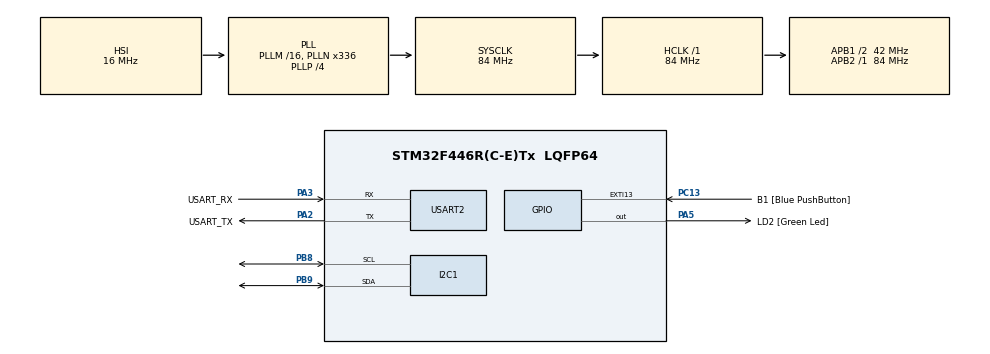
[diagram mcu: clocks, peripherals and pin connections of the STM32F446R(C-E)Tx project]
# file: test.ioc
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I2C1.I2C_Mode=I2C_Fast
Mcu.Family=STM32F4
Mcu.Name=STM32F446R(C-E)Tx
Mcu.Package=LQFP64
NVIC.PriorityGroup=NVIC_PRIORITYGROUP_0
PA13.GPIO_Label=TMS
PA13.Mode=Serial_Wire
PA13.Signal=SYS_JTMS-SWDIO
PA14.GPIO_Label=TCK
PA14.Mode=Serial_Wire
PA14.Signal=SYS_JTCK-SWCLK
PA2.GPIO_Label=USART_TX
PA2.Mode=Asynchronous
PA2.Signal=USART2_TX
PA3.GPIO_Label=USART_RX
PA3.Mode=Asynchronous
PA3.Signal=USART2_RX
PA5.GPIO_Label=LD2 [Green Led]
PA5.Signal=GPIO_Output
PB3.GPIO_Label=SWO
PB3.Signal=SYS_JTDO-SWO
PB8.Mode=I2C
PB8.Signal=I2C1_SCL
PB9.Mode=I2C
PB9.Signal=I2C1_SDA
PC13.GPIO_Label=B1 [Blue PushButton]
PC13.GPIO_ModeDefaultEXTI=GPIO_MODE_IT_FALLING
PC13.Signal=GPXTI13
PC14-OSC32_IN.Mode=LSE-External-Oscillator
PC14-OSC32_IN.Signal=RCC_OSC32_IN
PC15-OSC32_OUT.Mode=LSE-External-Oscillator
PC15-OSC32_OUT.Signal=RCC_OSC32_OUT
PH0-OSC_IN.Mode=HSE-External-Oscillator
PH0-OSC_IN.Signal=RCC_OSC_IN
PH1-OSC_OUT.Mode=HSE-External-Oscillator
PH1-OSC_OUT.Signal=RCC_OSC_OUT
ProjectManager.HeapSize=0x200
ProjectManager.StackSize=0x400
ProjectManager.TargetToolchain=STM32CubeIDE
RCC.48MHZClocksFreq_Value=84000000
RCC.AHBFreq_Value=84000000
RCC.APB1CLKDivider=RCC_HCLK_DIV2
RCC.APB1Freq_Value=42000000
RCC.APB1TimFreq_Value=84000000
RCC.APB2Freq_Value=84000000
RCC.APB2TimFreq_Value=84000000
RCC.CortexFreq_Value=84000000
RCC.FLatency-AdvancedSettings=FLASH_LATENCY_2
RCC.HCLKFreq_Value=84000000
RCC.HSE_VALUE=8000000
RCC.HSI_VALUE=16000000
RCC.PLLN=336
RCC.PLLP=RCC_PLLP_DIV4
RCC.SYSCLKFreq_VALUE=84000000
RCC.SYSCLKSource=RCC_SYSCLKSOURCE_PLLCLK
RCC.USBFreq_Value=168000000
RCC.VCOOutputFreq_Value=336000000
USART2.VirtualMode=VM_ASYNC
board=NUCLEO-F446RE

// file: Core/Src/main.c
/* USER CODE BEGIN Header */
/*VILLETTE Lou-Anne & CALDEIRA Quentin*/
/* USER CODE END Header */

#include "main.h"
#include "i2c.h"
#include "usart.h"
#include "gpio.h"

/* USER CODE BEGIN PD */
#define ACC_ADR 		0x32 //Adresse i2c de l'acceloremetre
#define MAG_ADR 		0x3C //Adresse i2c du magnetometre
#define WHO_AM_I_A 		0x0F
#define WHO_AM_I_M		0x4F

#define CTRL_REG1_A 	0x20
#define CTRL_REG5_A 	0x24
#define OUT_X_L_A		0x28

#define CFG_REG_A_M 	0x60
#define	OUTX_L_REG_M	0x68
/* USER CODE END PD */

/* USER CODE BEGIN PV */
 char acc_data_w[12];
 char acc_data_r[12];
 char mag_data_w[12];
 char mag_data_r[12];
/* USER CODE END PV */

void SystemClock_Config(void);
int who_am_i_sensors();

/* USER CODE BEGIN 0 */
/*------------Fonction permettant de relier le printf et l'uart---------------*/
int __io_putchar(int ch) {
	uint8_t c = ch & 0x00FF;
	HAL_UART_Transmit(&huart2, &c, 1, 10);
	return ch;
}
/*----------------------------------------------------------------------------*/

/*---Fonction permettant d'attester la présence du magneto et de l'accelero---*/
int who_am_i_sensors(){
	uint8_t buf[1];                                                                                     //Buffer de 1 octet car on ne lit que une case mémoire
	HAL_StatusTypeDef ret;                                                                              //Variable HAL permettant de voir l'état de la transmission I2C
	buf[0] = WHO_AM_I_A;                                                                                //On affecte l'adresse de la case mémoire stockant WHOAMI pour l'accelero
	ret = HAL_I2C_Master_Transmit(&hi2c1, ACC_ADR, buf, 1, HAL_MAX_DELAY);                              //On effectue la transmission sur l'accelero
	if ( ret != HAL_OK ) {                                                                              //Si la transmission s'est mal passé, on affiche une erreur
		printf("Error Tx\r\n");
	}
	else {
	    ret = HAL_I2C_Master_Receive(&hi2c1, ACC_ADR, buf, 1, HAL_MAX_DELAY);                           //Sinon, on recupere la valeur dans la case memoire
	    if ( ret != HAL_OK ) {                                                                          //Si la réception s'est mal passée, on affiche une erreur
	      printf("Error Rx\r\n");
	    }
	    else {
	    	if ( buf[0]==0x33 ) {                                                                         //On teste si la valeur présente dans la case memoire est identique à celle indiquée dans la doc
	        printf("Detection de accelerometre \n\r");
	    	}
	    }
  }
  buf[0] = WHO_AM_I_M;                                                                                //On affecte l'adresse de la case mémoire du WHOAMI pour le magneto
  ret = HAL_I2C_Master_Transmit(&hi2c1, MAG_ADR, buf, 1, HAL_MAX_DELAY);                              //On effectue la transmission sur le magneto
  if ( ret != HAL_OK ) {                                                                              //Si la transmission s'est mal passé, on affiche une erreur
	  printf("Error Tx\r\n");
  }
  else {
  	ret = HAL_I2C_Master_Receive(&hi2c1, MAG_ADR, buf, 1, HAL_MAX_DELAY);                             //Sinon, on recupere la valeur dans la case memoire
  	if ( ret != HAL_OK ) {                                                                            //Si la réception s'est mal passée, on affiche une erreur
  	  printf("Error Rx\r\n");
  	}
    else {
    	if ( buf[0]==0x40 ) {                                                                           //On teste si la valeur présente dans la case memoire est identique à celle indiquée dans la doc
    		printf("Detection de magneto \n\r");
    	}
    }
  }
}

/*---------------------------------------------------------------------------------*/
/* USER CODE END 0 */

int main(void)
{

  /* MCU Configuration--------------------------------------------------------*/

  /* Reset of all peripherals, Initializes the Flash interface and the Systick. */
  HAL_Init();

  /* Configure the system clock */
  SystemClock_Config();

  /* Initialize all configured peripherals */
  MX_GPIO_Init();
  MX_USART2_UART_Init();
  MX_I2C1_Init();

  /* Infinite loop */
  /* USER CODE BEGIN WHILE */
  while (1){
	  who_am_i_sensors();
  }
}
    /* USER CODE END WHILE */

void SystemClock_Config(void)
{
  RCC_OscInitTypeDef RCC_OscInitStruct = {0};
  RCC_ClkInitTypeDef RCC_ClkInitStruct = {0};

  /** Configure the main internal regulator output voltage
  */
  __HAL_RCC_PWR_CLK_ENABLE();
  __HAL_PWR_VOLTAGESCALING_CONFIG(PWR_REGULATOR_VOLTAGE_SCALE3);

  /** Initializes the RCC Oscillators according to the specified parameters
  * in the RCC_OscInitTypeDef structure.
  */
  RCC_OscInitStruct.OscillatorType = RCC_OSCILLATORTYPE_HSI;
  RCC_OscInitStruct.HSIState = RCC_HSI_ON;
  RCC_OscInitStruct.HSICalibrationValue = RCC_HSICALIBRATION_DEFAULT;
  RCC_OscInitStruct.PLL.PLLState = RCC_PLL_ON;
  RCC_OscInitStruct.PLL.PLLSource = RCC_PLLSOURCE_HSI;
  RCC_OscInitStruct.PLL.PLLM = 16;
  RCC_OscInitStruct.PLL.PLLN = 336;
  RCC_OscInitStruct.PLL.PLLP = RCC_PLLP_DIV4;
  RCC_OscInitStruct.PLL.PLLQ = 2;
  RCC_OscInitStruct.PLL.PLLR = 2;
  if (HAL_RCC_OscConfig(&RCC_OscInitStruct) != HAL_OK)
  {
    Error_Handler();
  }

  /** Initializes the CPU, AHB and APB buses clocks
  */
  RCC_ClkInitStruct.ClockType = RCC_CLOCKTYPE_HCLK|RCC_CLOCKTYPE_SYSCLK
                              |RCC_CLOCKTYPE_PCLK1|RCC_CLOCKTYPE_PCLK2;
  RCC_ClkInitStruct.SYSCLKSource = RCC_SYSCLKSOURCE_PLLCLK;
  RCC_ClkInitStruct.AHBCLKDivider = RCC_SYSCLK_DIV1;
  RCC_ClkInitStruct.APB1CLKDivider = RCC_HCLK_DIV2;
  RCC_ClkInitStruct.APB2CLKDivider = RCC_HCLK_DIV1;

  if (HAL_RCC_ClockConfig(&RCC_ClkInitStruct, FLASH_LATENCY_2) != HAL_OK)
  {
    Error_Handler();
  }
}

void Error_Handler(void)
{
  /* USER CODE BEGIN Error_Handler_Debug */
  /* User can add his own implementation to report the HAL error return state */
  __disable_irq();
  while (1)
  {
	  printf("error i2c");
  }
  /* USER CODE END Error_Handler_Debug */
}
